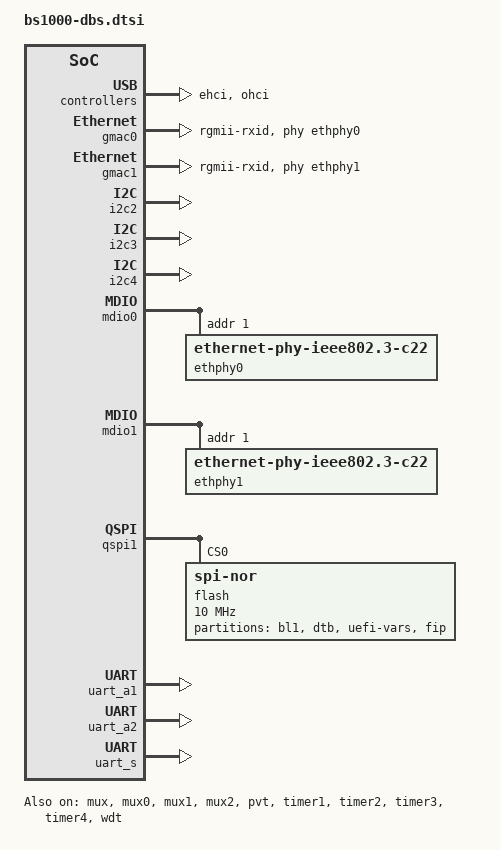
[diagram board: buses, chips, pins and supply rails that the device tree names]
// SPDX-License-Identifier: GPL-2.0
/*
 * Device tree include file for DBS-compatible boards
 * Copyright (C) 2021-2023 Baikal Electronics, JSC
 */

#include "bs1000.dtsi"

/ {
	aliases {
		ethernet0 = &gmac0;
		ethernet1 = &gmac1;
	};

	chosen { };
};

&ehci {
	status = "okay";
};

&gmac0 {
	status = "okay";
	phy-handle = <&ethphy0>;
	phy-mode = "rgmii-rxid";
};

&gmac1 {
	status = "okay";
	phy-handle = <&ethphy1>;
	phy-mode = "rgmii-rxid";
};

&gpio32 {
	status = "okay";
};

&i2c2 {
	status = "okay";
};

&i2c3 {
	status = "okay";
};

&i2c4 {
	status = "okay";
};

&mdio0 {
	ethphy0: ethernet-phy@1 {
		compatible = "ethernet-phy-ieee802.3-c22";
		reg = <0x1>;
	};
};

&mdio1 {
	ethphy1: ethernet-phy@1 {
		compatible = "ethernet-phy-ieee802.3-c22";
		reg = <0x1>;
	};
};

&mux {
	status = "okay";
};

&mux0 {
	status = "okay";
};

&mux1 {
	status = "okay";
};

&mux2 {
	status = "okay";
};

&ohci {
	status = "okay";
};

&pvt {
	status = "okay";
};

&qspi1 {
	num-cs = <4>;
	status = "okay";

	flash@0 {
		compatible = "jedec,spi-nor";
		reg = <0>;
		#address-cells = <1>;
		#size-cells = <1>;
		spi-max-frequency = <10000000>;
		spi-tx-bus-width = <1>;
		spi-rx-bus-width = <1>;
		status = "okay";

		partitions {
			compatible = "fixed-partitions";
			#address-cells = <1>;
			#size-cells = <1>;

			partition@0 {
				label = "bl1";
				reg = <0x000000 0x40000>;
			};

			partition@40000 {
				label = "dtb";
				reg = <0x040000 0x40000>;
			};

			partition@80000 {
				label = "uefi-vars";
				reg = <0x080000 0xc0000>;
			};

			partition@140000 {
				label = "fip";
				reg = <0x140000 0x6c0000>;
			};
		};
	};
};

&timer1 {
	status = "okay";
};

&timer2 {
	status = "okay";
};

&timer3 {
	status = "okay";
};

&timer4 {
	status = "okay";
};

&uart_a1 {
	status = "okay";
};

&uart_a2 {
	status = "okay";
};

&uart_s {
	status = "okay";
};

&wdt {
	status = "okay";
};
